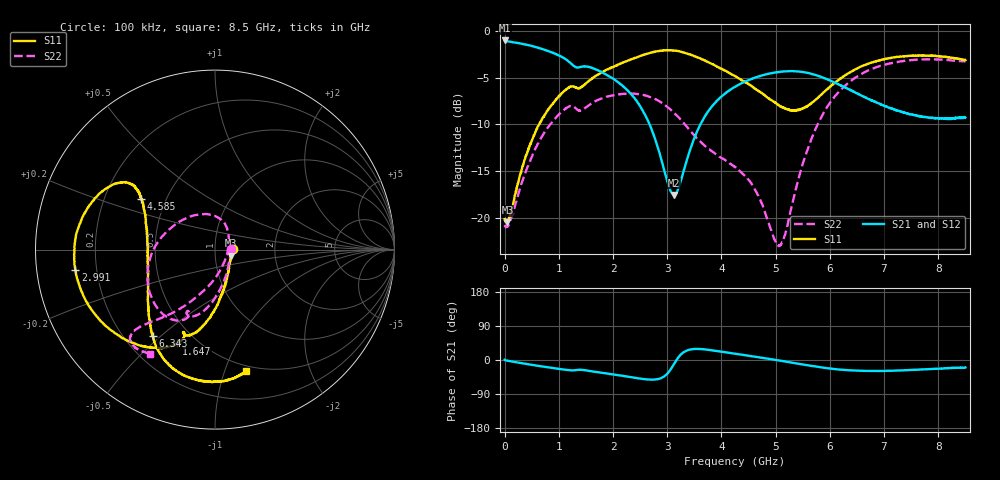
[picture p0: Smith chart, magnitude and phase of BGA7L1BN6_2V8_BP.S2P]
!Agilent Technologies,E5071C,MY46105553,A.09.30
!Date: Wed Sep 23 13:40:24 2015
!Data & Calibration Information:
!Freq	S11:SOLT2(ON)	S21:SOLT2(ON)	S12:SOLT2(ON)	S22:SOLT2(ON)
# Hz S dB R 50
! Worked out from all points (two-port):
!   1601 points, 100 kHz to 8.5 GHz, reference 50 ohm
!   highest |S21| = -1.05 dB at 100 kHz (marker M1); lowest = -17.5 dB at 3.129 GHz (marker M2)
!   |S21| within 3 dB of the highest: start of sweep to 1.644 GHz
!   lowest |S11| = -20.4 dB at 53.22 MHz (marker M3), VSWR 1.21, Z = 59.6 - j4.15 ohm
!   |S11| at or under -10 dB: start of sweep to 638.6 MHz
!   |S22| runs from -23.0 to -3.0 dB; largest |S21 - S12| = 0.0053
!   S11 on the Smith chart (normalised r, x): 100 kHz: 1.22, +0.00; 1.647 GHz: 0.39, -0.60; 2.991 GHz: 0.12, -0.07; 4.585 GHz: 0.36, +0.27; 6.343 GHz: 0.32, -0.47; 8.5 GHz: 0.45, -1.19
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100000  -20.09 1.0  -1.05 0.3  -1.07 0.1  -20.92 0.8
5.322438e7  -20.44 -21.3  -1.14 -1.9  -1.14 -1.8  -20.89 -17.7
3.666582e8  -13.80 -73.4  -1.45 -9.6  -1.46 -9.6  -15.43 -70.8
6.482174e8  -9.87 -88.8  -1.88 -16.1  -1.87 -16.1  -11.68 -88.6
1.121024e9  -6.35 -104.1  -3.02 -25.9  -3.02 -25.8  -8.33 -106.2
1.418521e9  -6.02 -109.9  -3.85 -26.0  -3.85 -26.0  -8.51 -112.8
1.646956e9  -4.97 -112.2  -4.05 -30.8  -4.05 -30.8  -7.60 -112.7
2.348197e9  -3.03 -134.5  -6.88 -45.7  -6.89 -45.8  -6.70 -128.8
2.836942e9  -2.19 -161.7  -12.65 -50.2  -12.67 -50.1  -7.47 -151.7
2.991002e9  -2.09 -171.9  -15.88 -37.7  -15.89 -37.6  -8.07 -162.2
3.129126e9  -2.12 178.8  -17.52 -9.7  -17.52 -9.7  -8.80 -172.8
3.623182e9  -3.00 152.8  -9.89 28.8  -9.89 28.8  -11.91 143.0
4.25005e9  -4.86 141.9  -6.00 16.6  -5.99 16.6  -14.54 90.3
4.584734e9  -6.04 145.4  -5.08 9.5  -5.08 9.5  -16.60 66.0
4.988479e9  -7.65 158.7  -4.48 0.5  -4.46 0.5  -22.39 8.8
5.089415e9  -8.11 164.0  -4.39 -1.9  -4.38 -1.9  -22.84 -22.4
5.668471e9  -7.70 -154.8  -4.62 -15.8  -4.61 -15.8  -11.43 -109.7
5.960655e9  -6.21 -139.3  -5.20 -21.8  -5.21 -21.8  -8.04 -121.7
6.34315e9  -4.54 -126.0  -6.24 -27.1  -6.23 -27.0  -5.56 -130.8
7.086892e9  -2.94 -106.8  -8.23 -28.6  -8.23 -28.4  -3.52 -134.5
7.735009e9  -2.66 -90.9  -9.21 -24.6  -9.25 -24.8  -3.06 -129.9
8.5e9  -3.14 -75.6  -9.28 -19.9  -9.27 -20.7  -3.28 -121.7
